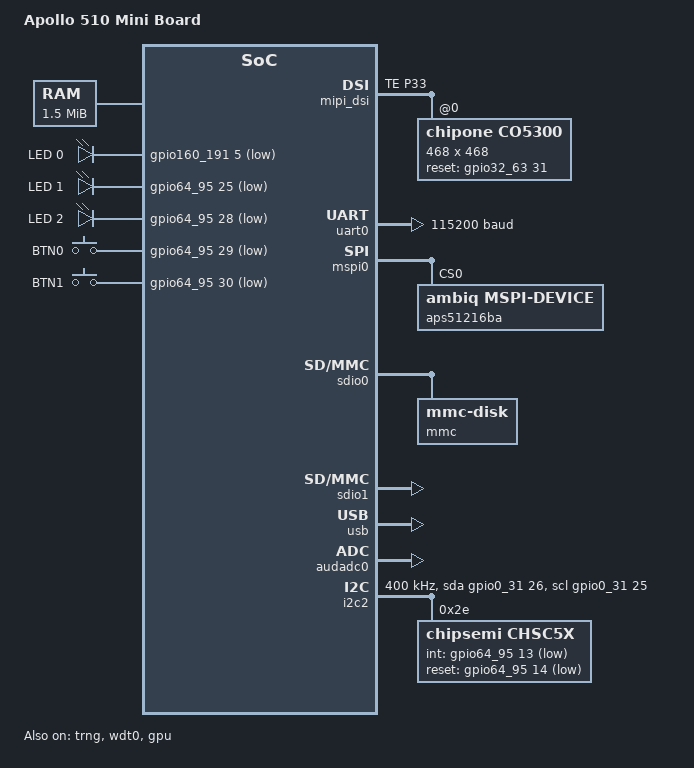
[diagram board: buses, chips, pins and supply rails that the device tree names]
/*
 * Copyright (c) 2026 Ambiq Micro Inc.
 * SPDX-License-Identifier: Apache-2.0
 */

/dts-v1/;
#include <ambiq/ambiq_apollo510.dtsi>
#include "apollo510_mini-pinctrl.dtsi"
#include <zephyr/dt-bindings/input/input-event-codes.h>
#include <zephyr/dt-bindings/mipi_dsi/mipi_dsi.h>
#include <zephyr/dt-bindings/display/panel.h>
#include <zephyr/dt-bindings/i2c/i2c.h>

/ {
	model = "Apollo 510 Mini Board";
	compatible = "vendor,apollo510-mini";

	chosen {
		zephyr,itcm = &itcm;
		zephyr,dtcm = &dtcm;
		zephyr,sram = &sram0;
		zephyr,flash-controller = &flash;
		zephyr,flash = &flash0;
		zephyr,code-partition = &slot0_partition;
		zephyr,console = &uart0;
		zephyr,uart-mcumgr = &uart0;
		zephyr,shell-uart = &uart0;
		zephyr,uart-pipe = &uart0;
		zephyr,entropy = &trng;
		ambiq,xo32m = &xo32m_xtal;
		ambiq,xo32k = &xo32k_xtal;
		ambiq,extrefclk = &extrefclk;
		ambiq,psram = &aps51216ba;
		ambiq,external-ram-region = &xip0;
		zephyr,display = &co5300;
		zephyr,touch = &chsc5x;
		ambiq,gpu = &gpu;
	};

	aliases {
		watchdog0 = &wdt0;
		led0 = &led0;
		led1 = &led1;
		led2 = &led2;
		sw0 = &button0;
		sw1 = &button1;
		pwm-led0 = &pwm_led0;
		sdhc0 = &sdio0;
	};

	lvgl_pointer {
		compatible = "zephyr,lvgl-pointer-input";
		input = <&chsc5x>;
	};

	sram0: memory@SSRAM_BASE_NAME {
		compatible = "mmio-sram";
		reg = <SSRAM_BASE_ADDR 0x180000>;
	};

	sram_no_cache: memory@20200000 {
		compatible = "zephyr,memory-region", "mmio-sram";
		reg = <0x20200000 0x180000>;
		zephyr,memory-region = "SRAM_NO_CACHE";
		zephyr,memory-attr = <DT_MEM_ARM(ATTR_MPU_RAM_NOCACHE)>;
	};

	leds {
		compatible = "gpio-leds";

		led0: led_0 {
			gpios = <&gpio160_191 5 GPIO_ACTIVE_LOW>;
			label = "LED 0";
		};

		led1: led_1 {
			gpios = <&gpio64_95 25 GPIO_ACTIVE_LOW>;
			label = "LED 1";
		};

		led2: led_2 {
			gpios = <&gpio64_95 28 GPIO_ACTIVE_LOW>;
			label = "LED 2";
		};
	};

	buttons {
		compatible = "gpio-keys";
		polling-mode;

		button0: button_0 {
			gpios = <&gpio64_95 29 (GPIO_PULL_UP | GPIO_ACTIVE_LOW)>;
			label = "BTN0";
			zephyr,code = <INPUT_KEY_0>;
			status = "okay";
		};

		button1: button_1 {
			gpios = <&gpio64_95 30 (GPIO_PULL_UP | GPIO_ACTIVE_LOW)>;
			label = "BTN1";
			zephyr,code = <INPUT_KEY_1>;
			status = "okay";
		};
	};

	pwmleds: pwmleds {
		compatible = "pwm-leds";
		status = "disabled";

		pwm_led0: pwm_led_0 {
			pwms = <&pwm2 0 PWM_MSEC(20) PWM_POLARITY_NORMAL>;
			label = "PWM_LED";
		};
	};
};

&mipi_dsi {
	vdd18-gpios = <&gpio32_63 26 GPIO_PULL_DOWN>;

	/* Optional: override co5300 properties if needed */
	co5300: co5300@0 {
		reset-gpios = <&gpio32_63 31 GPIO_PULL_UP>;
	};
};

&trng {
	status = "okay";
};

&xo32m_xtal {
	clock-frequency = <DT_FREQ_M(48)>;
};

&itm {
	pinctrl-0 = <&swo_default>;
	pinctrl-names = "default";
};

&adc0 {
	pinctrl-0 = <&adc0_default>;
	pinctrl-names = "default";
	status = "disabled";
};

&timer0 {
	counter0: counter {
		status = "disabled";
	};
};

&timer2 {
	pwm2: pwm {
		pinctrl-0 = <&pwm2_default>;
		pinctrl-names = "default";
		status = "disabled";
	};
};

&rtc0 {
	status = "disabled";
	clock = "XTAL";
};

&uart0 {
	current-speed = <115200>;
	pinctrl-0 = <&uart0_default>;
	pinctrl-1 = <&uart0_sleep>;
	pinctrl-names = "default", "sleep";
	status = "okay";
};

&stimer0 {
	clk-source = <3>;
};

&wdt0 {
	status = "okay";
};


&mspi0 {
	pinctrl-0 = <&mspi0_default>;
	pinctrl-1 = <&mspi0_sleep>;
	pinctrl-2 = <&mspi0_psram>;
	pinctrl-names = "default", "sleep", "psram";
	status = "okay";
	zephyr,pm-device-runtime-auto;

	ce-gpios = <&gpio192_223 7 GPIO_ACTIVE_LOW>;

	cmdq-buffer-location = "SRAM_NO_CACHE";
	cmdq-buffer-size = <256>;

	ambiq,apmemory;

	dqs-support;

	aps51216ba: aps_z8@0 {
		compatible = "ambiq,mspi-device", "mspi-aps-z8";
		size = <DT_SIZE_M(512)>;
		reg = <0>;
		status = "okay";
		mspi-max-frequency = <125000000>;
		mspi-io-mode = "MSPI_IO_MODE_HEX_8_8_16";
		mspi-data-rate = "MSPI_DATA_RATE_S_D_D";
		mspi-hardware-ce-num = <0>;
		mspi-dqs-enable;
		read-command = <0x20>;
		write-command = <0xA0>;
		command-length = "INSTR_1_BYTE";
		address-length = "ADDR_4_BYTE";
		rx-dummy = <7>;
		tx-dummy = <8>;
		xip-config = <1 0 DT_SIZE_M(64) 0>;
		ce-break-config = <1024 4>;
		ambiq,timing-config-mask = <0x62>;
		ambiq,timing-config = <8 7 1 0 0 3 10>;
		zephyr,pm-device-runtime-auto;
	};
};

&sdio0 {
	pinctrl-0 = <&sdio0_default>;
	pinctrl-names = "default";
	txdelay = <0>;
	rxdelay = <0>;
	status = "okay";

	mmc {
		compatible = "zephyr,mmc-disk";
		disk-name = "SD2";
		status = "okay";
	};
};

&sdio1 {
	pinctrl-0 = <&sdio1_default>;
	pinctrl-names = "default";
	txdelay = <9>;
	rxdelay = <11>;
	status = "okay";
};

zephyr_udc0: &usb {
	vddusb33-gpios = <&gpio64_95 27 GPIO_PULL_UP>;
	vddusb0p9-gpios = <&gpio64_95 26 GPIO_PULL_UP>;
	status = "okay";
};

&pdm0 {
	pinctrl-0 = <&pdm0_default>;
	pinctrl-names = "default";
	status = "disabled";
};

&audadc0 {
	status = "okay";
};

&i2s0 {
	pinctrl-0 = <&i2s0_default>;
	pinctrl-names = "default";
	status = "disabled";
};

&i2s1 {
	pinctrl-0 = <&i2s1_default>;
	pinctrl-names = "default";
	status = "disabled";
};

&gpio0_31 {
	status = "okay";
};

&iom2 {
	cmdq-buffer-location = "SRAM_NO_CACHE";
	cmdq-buffer-size = <256>;

	i2c2: i2c {
		pinctrl-0 = <&i2c2_default>;
		pinctrl-1 = <&i2c2_sleep>;
		pinctrl-names = "default", "sleep";
		clock-frequency = <I2C_BITRATE_FAST>;
		scl-gpios = <&gpio0_31 25 (GPIO_OPEN_DRAIN | GPIO_PULL_UP)>;
		sda-gpios = <&gpio0_31 26 (GPIO_OPEN_DRAIN | GPIO_PULL_UP)>;
		status = "okay";

		chsc5x: chsc5x@2e {
			compatible = "chipsemi,chsc5x";
			reg = <0x2e>;
			status = "okay";
			int-gpios = <&gpio64_95 13 GPIO_ACTIVE_LOW>;
			reset-gpios = <&gpio64_95 14 GPIO_ACTIVE_LOW>;
		};
	};
};

&pinctrl {
	/* Node with pin configuration for default state */
	/omit-if-no-ref/dc_te_default: dc_te_default {
		group1 {
			/* Mappings: DISP_TE -> GPIO33*/
			pinmux = <DISP_TE_P33>;
		};
	};
};

&mipi_dsi {
	status = "okay";
	phy-clock = <240000000>;	/*The frequency should be a multiple of 12MHz.*/
	/*disp-te;*/
	pinctrl-0 = <&dc_te_default>;
	pinctrl-names = "default";
	/*apollo510_evb designed with a loadswitch to control power Vdd18.*/

	co5300: co5300@0 {
		status = "okay";
		compatible = "chipone,co5300";
		reg = <0x0>;
		data-lanes = <1>;
		pixel-format = <PANEL_PIXEL_FORMAT_RGB_888>;
		rotation = <0>;
		mode-flags = <0>;
		width = <468>;	/*Its value should be an integer multiple of 4.*/
		hfp = <1>;	/*Please use this recommended value.*/
		hbp = <1>;	/*Please use this recommended value.*/
		hsync = <1>;	/*Please use this recommended value.*/
		height = <468>;	/**/
		vfp = <1>;	/*Please use this recommended value.*/
		vbp = <1>;	/*Please use this recommended value.*/
		vsync = <1>;	/*Please use this recommended value.*/
	};
};

&gpu {
	high-performance-mode;
	status = "okay";
};

&gpio32_63 {
	status = "okay";
};

&gpio64_95 {
	status = "okay";
};

&gpio96_127 {
	status = "okay";
};

&gpio128_159 {
	status = "okay";
};

&gpio160_191 {
	status = "okay";
};

&gpio192_223 {
	status = "okay";
};

&flash0 {
	/* Match write granularity with cache line size when cache is enabled. */
	write-block-size = <32>;

	partitions {
		compatible = "fixed-partitions";
		#address-cells = <1>;
		#size-cells = <1>;

		boot_partition: partition@0 {
			label = "mcuboot";
			reg = <0x00000000 DT_SIZE_K(256)>;
		};

		slot0_partition: partition@40000 {
			label = "image-0";
			reg = <0x40000 DT_SIZE_K(1024)>;
		};

		slot1_partition: partition@140000 {
			label = "image-1";
			reg = <0x140000 DT_SIZE_K(1024)>;
		};

		scratch_partition: partition@240000 {
			label = "image-scratch";
			reg = <0x240000 DT_SIZE_K(32)>;
		};

		storage_partition: partition@248000 {
			label = "storage";
			reg = <0x248000 DT_SIZE_K(32)>;
		};
	};
};
